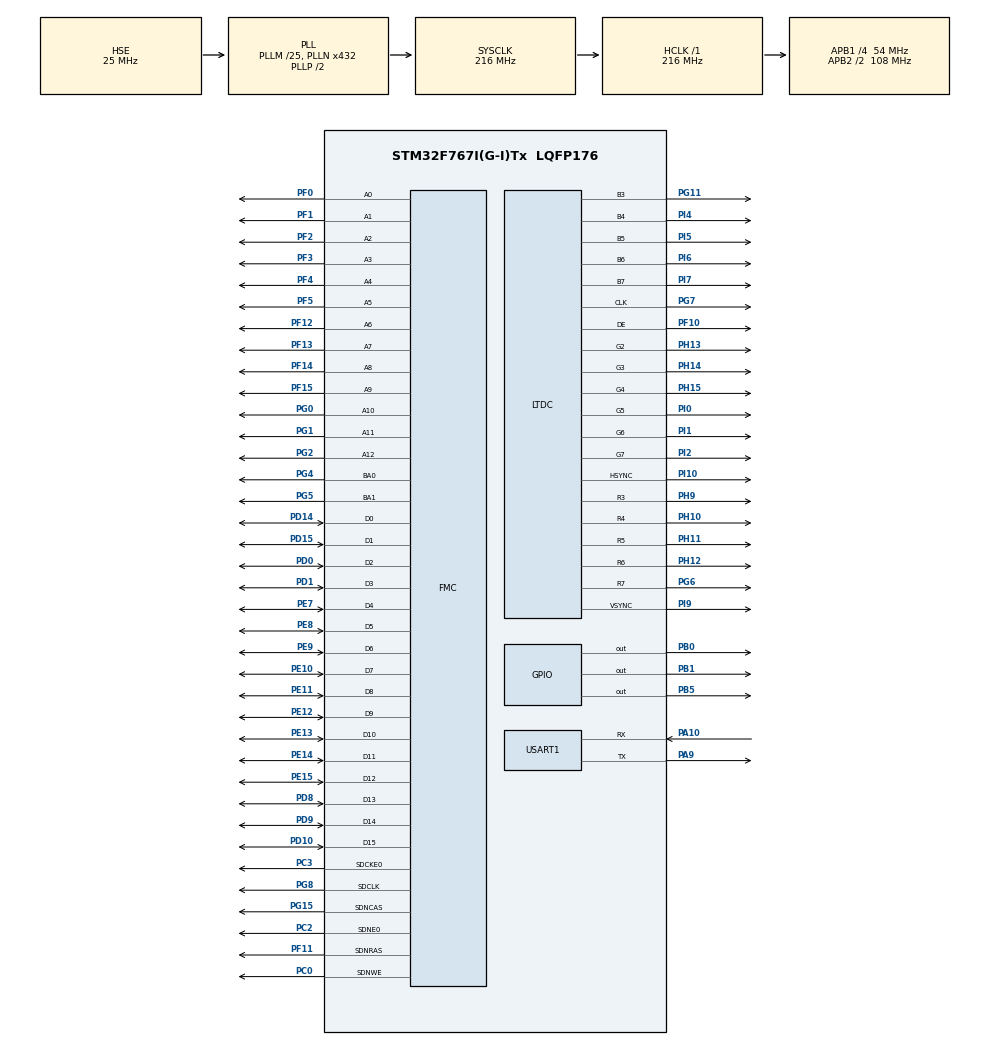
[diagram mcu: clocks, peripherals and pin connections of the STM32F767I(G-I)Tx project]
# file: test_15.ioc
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CORTEX_M7.MPU_Control=__NULL
CORTEX_M7.default_mode_Activation=1
DMA2D.ColorMode=DMA2D_OUTPUT_RGB565
FMC.CASLatency1=FMC_SDRAM_CAS_LATENCY_3
FMC.ColumnBitsNumber1=FMC_SDRAM_COLUMN_BITS_NUM_9
FMC.ExitSelfRefreshDelay1=8
FMC.LoadToActiveDelay1=2
FMC.RCDDelay1=2
FMC.RPDelay1=2
FMC.ReadBurst1=FMC_SDRAM_RBURST_ENABLE
FMC.ReadPipeDelay1=FMC_SDRAM_RPIPE_DELAY_1
FMC.RowCycleDelay1=6
FMC.SDClockPeriod1=FMC_SDRAM_CLOCK_PERIOD_2
FMC.SelfRefreshTime1=6
FMC.WriteRecoveryTime1=4
LTDC.ActiveW=800
LTDC.Alpha_L0=255
LTDC.FBStartAdress_L0=0xc0000000
LTDC.HBP=88
LTDC.HFP=40
LTDC.HSync=48
LTDC.ImageHeight_L0=480
LTDC.ImageWidth_L0=800
LTDC.PixelFormat_L0=LTDC_PIXEL_FORMAT_RGB565
LTDC.PixelFormat_L1=LTDC_PIXEL_FORMAT_RGB565
LTDC.VBP=32
LTDC.VFP=13
LTDC.VSync=3
LTDC.WindowX1_L0=800
LTDC.WindowY1_L0=480
Mcu.Family=STM32F7
Mcu.Name=STM32F767I(G-I)Tx
Mcu.Package=LQFP176
NVIC.PriorityGroup=NVIC_PRIORITYGROUP_2
NVIC.RTC_Alarm_IRQn=true\:1\:2\:true\:false\:true\:true\:true\:true
NVIC.RTC_WKUP_IRQn=true\:1\:2\:true\:false\:true\:true\:true\:true
NVIC.USART1_IRQn=true\:3\:3\:true\:false\:true\:true\:true\:true
PA10.GPIO_ModeDefaultPP=GPIO_MODE_AF_PP
PA10.GPIO_PuPd=GPIO_PULLUP
PA10.GPIO_Speed=GPIO_SPEED_FREQ_HIGH
PA10.Mode=Asynchronous
PA10.Signal=USART1_RX
PA9.GPIO_ModeDefaultPP=GPIO_MODE_AF_PP
PA9.GPIO_PuPd=GPIO_PULLUP
PA9.GPIO_Speed=GPIO_SPEED_FREQ_HIGH
PA9.Mode=Asynchronous
PA9.Signal=USART1_TX
PB0.GPIO_PuPd=GPIO_PULLUP
PB0.GPIO_Speed=GPIO_SPEED_FREQ_HIGH
PB0.PinState=GPIO_PIN_SET
PB0.Signal=GPIO_Output
PB1.GPIO_PuPd=GPIO_PULLUP
PB1.GPIO_Speed=GPIO_SPEED_FREQ_HIGH
PB1.PinState=GPIO_PIN_SET
PB1.Signal=GPIO_Output
PB5.GPIO_PuPd=GPIO_PULLUP
PB5.GPIO_Speed=GPIO_SPEED_FREQ_HIGH
PB5.Signal=GPIO_Output
PC0.GPIO_PuPd=GPIO_PULLUP
PC0.GPIO_Speed_High_Default=GPIO_SPEED_FREQ_HIGH
PC0.Signal=FMC_SDNWE
PC14/OSC32_IN.Mode=LSE-External-Oscillator
PC14/OSC32_IN.Signal=RCC_OSC32_IN
PC15/OSC32_OUT.Mode=LSE-External-Oscillator
PC15/OSC32_OUT.Signal=RCC_OSC32_OUT
PC2.GPIO_PuPd=GPIO_PULLUP
PC2.GPIO_Speed_High_Default=GPIO_SPEED_FREQ_HIGH
PC2.Mode=SdramChipSelect1_1
PC2.Signal=FMC_SDNE0
PC3.GPIO_PuPd=GPIO_PULLUP
PC3.GPIO_Speed_High_Default=GPIO_SPEED_FREQ_HIGH
PC3.Mode=SdramChipSelect1_1
PC3.Signal=FMC_SDCKE0
PD0.GPIO_PuPd=GPIO_PULLUP
PD0.GPIO_Speed_High_Default=GPIO_SPEED_FREQ_HIGH
PD0.Signal=FMC_D2_DA2
PD1.GPIO_PuPd=GPIO_PULLUP
PD1.GPIO_Speed_High_Default=GPIO_SPEED_FREQ_HIGH
PD1.Signal=FMC_D3_DA3
PD10.GPIO_PuPd=GPIO_PULLUP
PD10.GPIO_Speed_High_Default=GPIO_SPEED_FREQ_HIGH
PD10.Signal=FMC_D15_DA15
PD14.GPIO_PuPd=GPIO_PULLUP
PD14.GPIO_Speed_High_Default=GPIO_SPEED_FREQ_HIGH
PD14.Signal=FMC_D0_DA0
PD15.GPIO_PuPd=GPIO_PULLUP
PD15.GPIO_Speed_High_Default=GPIO_SPEED_FREQ_HIGH
PD15.Signal=FMC_D1_DA1
PD8.GPIO_PuPd=GPIO_PULLUP
PD8.GPIO_Speed_High_Default=GPIO_SPEED_FREQ_HIGH
PD8.Signal=FMC_D13_DA13
PD9.GPIO_PuPd=GPIO_PULLUP
PD9.GPIO_Speed_High_Default=GPIO_SPEED_FREQ_HIGH
PD9.Signal=FMC_D14_DA14
PE0.GPIO_Mode=GPIO_MODE_AF_PP
PE0.GPIO_PuPd=GPIO_PULLUP
PE0.GPIO_Speed_High_Default=GPIO_SPEED_FREQ_HIGH
PE0.Signal=FMC_NBL0
PE1.GPIO_Mode=GPIO_MODE_AF_PP
PE1.GPIO_PuPd=GPIO_PULLUP
PE1.GPIO_Speed_High_Default=GPIO_SPEED_FREQ_HIGH
PE1.Signal=FMC_NBL1
PE10.GPIO_PuPd=GPIO_PULLUP
PE10.GPIO_Speed_High_Default=GPIO_SPEED_FREQ_HIGH
PE10.Signal=FMC_D7_DA7
PE11.GPIO_PuPd=GPIO_PULLUP
PE11.GPIO_Speed_High_Default=GPIO_SPEED_FREQ_HIGH
PE11.Signal=FMC_D8_DA8
PE12.GPIO_PuPd=GPIO_PULLUP
PE12.GPIO_Speed_High_Default=GPIO_SPEED_FREQ_HIGH
PE12.Signal=FMC_D9_DA9
PE13.GPIO_PuPd=GPIO_PULLUP
PE13.GPIO_Speed_High_Default=GPIO_SPEED_FREQ_HIGH
PE13.Signal=FMC_D10_DA10
PE14.GPIO_PuPd=GPIO_PULLUP
PE14.GPIO_Speed_High_Default=GPIO_SPEED_FREQ_HIGH
PE14.Signal=FMC_D11_DA11
PE15.GPIO_PuPd=GPIO_PULLUP
PE15.GPIO_Speed_High_Default=GPIO_SPEED_FREQ_HIGH
PE15.Signal=FMC_D12_DA12
PE7.GPIO_PuPd=GPIO_PULLUP
PE7.GPIO_Speed_High_Default=GPIO_SPEED_FREQ_HIGH
PE7.Signal=FMC_D4_DA4
PE8.GPIO_PuPd=GPIO_PULLUP
PE8.GPIO_Speed_High_Default=GPIO_SPEED_FREQ_HIGH
PE8.Signal=FMC_D5_DA5
PE9.GPIO_PuPd=GPIO_PULLUP
PE9.GPIO_Speed_High_Default=GPIO_SPEED_FREQ_HIGH
PE9.Signal=FMC_D6_DA6
PF0.GPIO_PuPd=GPIO_PULLUP
PF0.GPIO_Speed_High_Default=GPIO_SPEED_FREQ_HIGH
PF0.Signal=FMC_A0
PF1.GPIO_PuPd=GPIO_PULLUP
PF1.GPIO_Speed_High_Default=GPIO_SPEED_FREQ_HIGH
PF1.Signal=FMC_A1
PF10.GPIO_Speed=GPIO_SPEED_FREQ_HIGH
PF10.Mode=RGB565
PF10.Signal=LTDC_DE
PF11.GPIO_PuPd=GPIO_PULLUP
PF11.GPIO_Speed_High_Default=GPIO_SPEED_FREQ_HIGH
PF11.Signal=FMC_SDNRAS
PF12.GPIO_PuPd=GPIO_PULLUP
PF12.GPIO_Speed_High_Default=GPIO_SPEED_FREQ_HIGH
PF12.Signal=FMC_A6
PF13.GPIO_PuPd=GPIO_PULLUP
PF13.GPIO_Speed_High_Default=GPIO_SPEED_FREQ_HIGH
PF13.Signal=FMC_A7
PF14.GPIO_PuPd=GPIO_PULLUP
PF14.GPIO_Speed_High_Default=GPIO_SPEED_FREQ_HIGH
PF14.Signal=FMC_A8
PF15.GPIO_PuPd=GPIO_PULLUP
PF15.GPIO_Speed_High_Default=GPIO_SPEED_FREQ_HIGH
PF15.Signal=FMC_A9
PF2.GPIO_PuPd=GPIO_PULLUP
PF2.GPIO_Speed_High_Default=GPIO_SPEED_FREQ_HIGH
PF2.Signal=FMC_A2
PF3.GPIO_PuPd=GPIO_PULLUP
PF3.GPIO_Speed_High_Default=GPIO_SPEED_FREQ_HIGH
PF3.Signal=FMC_A3
PF4.GPIO_PuPd=GPIO_PULLUP
PF4.GPIO_Speed_High_Default=GPIO_SPEED_FREQ_HIGH
PF4.Signal=FMC_A4
PF5.GPIO_PuPd=GPIO_PULLUP
PF5.GPIO_Speed_High_Default=GPIO_SPEED_FREQ_HIGH
PF5.Signal=FMC_A5
PG0.GPIO_PuPd=GPIO_PULLUP
PG0.GPIO_Speed_High_Default=GPIO_SPEED_FREQ_HIGH
PG0.Signal=FMC_A10
PG1.GPIO_PuPd=GPIO_PULLUP
PG1.GPIO_Speed_High_Default=GPIO_SPEED_FREQ_HIGH
PG1.Signal=FMC_A11
PG11.GPIO_Speed=GPIO_SPEED_FREQ_HIGH
PG11.Mode=RGB565
PG11.Signal=LTDC_B3
PG15.GPIO_PuPd=GPIO_PULLUP
PG15.GPIO_Speed_High_Default=GPIO_SPEED_FREQ_HIGH
PG15.Signal=FMC_SDNCAS
PG2.GPIO_PuPd=GPIO_PULLUP
PG2.GPIO_Speed_High_Default=GPIO_SPEED_FREQ_HIGH
PG2.Signal=FMC_A12
PG4.GPIO_PuPd=GPIO_PULLUP
PG4.GPIO_Speed_High_Default=GPIO_SPEED_FREQ_HIGH
PG4.Signal=FMC_A14_BA0
PG5.GPIO_PuPd=GPIO_PULLUP
PG5.GPIO_Speed_High_Default=GPIO_SPEED_FREQ_HIGH
PG5.Signal=FMC_A15_BA1
PG6.GPIO_Speed=GPIO_SPEED_FREQ_HIGH
PG6.Mode=RGB565
PG6.Signal=LTDC_R7
PG7.GPIO_Speed=GPIO_SPEED_FREQ_HIGH
PG7.Mode=RGB565
PG7.Signal=LTDC_CLK
PG8.GPIO_PuPd=GPIO_PULLUP
PG8.GPIO_Speed_High_Default=GPIO_SPEED_FREQ_HIGH
PG8.Signal=FMC_SDCLK
PH0/OSC_IN.Mode=HSE-External-Oscillator
PH0/OSC_IN.Signal=RCC_OSC_IN
PH1/OSC_OUT.Mode=HSE-External-Oscillator
PH1/OSC_OUT.Signal=RCC_OSC_OUT
PH10.GPIO_Speed=GPIO_SPEED_FREQ_HIGH
PH10.Mode=RGB565
PH10.Signal=LTDC_R4
PH11.GPIO_Speed=GPIO_SPEED_FREQ_HIGH
PH11.Mode=RGB565
PH11.Signal=LTDC_R5
PH12.GPIO_Speed=GPIO_SPEED_FREQ_HIGH
PH12.Mode=RGB565
PH12.Signal=LTDC_R6
PH13.GPIO_Speed=GPIO_SPEED_FREQ_HIGH
PH13.Mode=RGB565
PH13.Signal=LTDC_G2
PH14.GPIO_Speed=GPIO_SPEED_FREQ_HIGH
PH14.Mode=RGB565
PH14.Signal=LTDC_G3
PH15.GPIO_Speed=GPIO_SPEED_FREQ_HIGH
PH15.Mode=RGB565
PH15.Signal=LTDC_G4
PH9.GPIO_Speed=GPIO_SPEED_FREQ_HIGH
PH9.Mode=RGB565
PH9.Signal=LTDC_R3
PI0.GPIO_Speed=GPIO_SPEED_FREQ_HIGH
PI0.Mode=RGB565
PI0.Signal=LTDC_G5
PI1.GPIO_Speed=GPIO_SPEED_FREQ_HIGH
PI1.Mode=RGB565
PI1.Signal=LTDC_G6
PI10.GPIO_Speed=GPIO_SPEED_FREQ_HIGH
PI10.Mode=RGB565
PI10.Signal=LTDC_HSYNC
PI2.GPIO_Speed=GPIO_SPEED_FREQ_HIGH
PI2.Mode=RGB565
PI2.Signal=LTDC_G7
PI4.GPIO_Speed=GPIO_SPEED_FREQ_HIGH
PI4.Mode=RGB565
PI4.Signal=LTDC_B4
PI5.GPIO_Speed=GPIO_SPEED_FREQ_HIGH
PI5.Mode=RGB565
PI5.Signal=LTDC_B5
PI6.GPIO_Speed=GPIO_SPEED_FREQ_HIGH
PI6.Mode=RGB565
PI6.Signal=LTDC_B6
PI7.GPIO_Speed=GPIO_SPEED_FREQ_HIGH
PI7.Mode=RGB565
PI7.Signal=LTDC_B7
PI9.GPIO_Speed=GPIO_SPEED_FREQ_HIGH
PI9.Mode=RGB565
PI9.Signal=LTDC_VSYNC
ProjectManager.HeapSize=0x200
ProjectManager.StackSize=0x400
ProjectManager.TargetToolchain=MDK-ARM V5.32
RCC.AHBFreq_Value=216000000
RCC.APB1CLKDivider=RCC_HCLK_DIV4
RCC.APB1Freq_Value=54000000
RCC.APB1TimFreq_Value=108000000
RCC.APB2CLKDivider=RCC_HCLK_DIV2
RCC.APB2Freq_Value=108000000
RCC.APB2TimFreq_Value=216000000
RCC.CortexFreq_Value=216000000
RCC.HCLKFreq_Value=216000000
RCC.HSE_VALUE=25000000
RCC.HSI_VALUE=16000000
RCC.PLLM=25
RCC.PLLN=432
RCC.PLLSAIN=360
RCC.PLLSAIR=3
RCC.PLLSAIRDiv=RCC_PLLSAIDIVR_4
RCC.PLLSourceVirtual=RCC_PLLSOURCE_HSE
RCC.RTCClockSelection=RCC_RTCCLKSOURCE_LSE
RCC.SYSCLKFreq_VALUE=216000000
RCC.SYSCLKSource=RCC_SYSCLKSOURCE_PLLCLK
RCC.USBFreq_Value=216000000
RCC.VCOOutputFreq_Value=432000000
RTC.Alarm-Alarm\ A=RTC_ALARM_A
RTC.AlarmDateWeekDaySel-Alarm\ A=RTC_ALARMDATEWEEKDAYSEL_WEEKDAY
RTC.AsynchPrediv=0x7f
RTC.Date=27
RTC.Hours=23
RTC.Minutes=59
RTC.Month=RTC_MONTH_DECEMBER
RTC.Seconds=56
RTC.Seconds_A-Alarm\ A=30
RTC.SynchPrediv=0xff
RTC.WeekDay=RTC_WEEKDAY_SUNDAY
RTC.Year=15
SH.FMC_A0.0=FMC_A0,13b-sda1
SH.FMC_A1.0=FMC_A1,13b-sda1
SH.FMC_A10.0=FMC_A10,13b-sda1
SH.FMC_A11.0=FMC_A11,13b-sda1
SH.FMC_A12.0=FMC_A12,13b-sda1
SH.FMC_A14_BA0.0=FMC_BA0,FourSdramBanks1
SH.FMC_A15_BA1.0=FMC_BA1,FourSdramBanks1
SH.FMC_A2.0=FMC_A2,13b-sda1
SH.FMC_A3.0=FMC_A3,13b-sda1
SH.FMC_A4.0=FMC_A4,13b-sda1
SH.FMC_A5.0=FMC_A5,13b-sda1
SH.FMC_A6.0=FMC_A6,13b-sda1
SH.FMC_A7.0=FMC_A7,13b-sda1
SH.FMC_A8.0=FMC_A8,13b-sda1
SH.FMC_A9.0=FMC_A9,13b-sda1
SH.FMC_D0_DA0.0=FMC_D0,sd-16b-d1
SH.FMC_D10_DA10.0=FMC_D10,sd-16b-d1
SH.FMC_D11_DA11.0=FMC_D11,sd-16b-d1
SH.FMC_D12_DA12.0=FMC_D12,sd-16b-d1
SH.FMC_D13_DA13.0=FMC_D13,sd-16b-d1
SH.FMC_D14_DA14.0=FMC_D14,sd-16b-d1
SH.FMC_D15_DA15.0=FMC_D15,sd-16b-d1
SH.FMC_D1_DA1.0=FMC_D1,sd-16b-d1
SH.FMC_D2_DA2.0=FMC_D2,sd-16b-d1
SH.FMC_D3_DA3.0=FMC_D3,sd-16b-d1
SH.FMC_D4_DA4.0=FMC_D4,sd-16b-d1
SH.FMC_D5_DA5.0=FMC_D5,sd-16b-d1
SH.FMC_D6_DA6.0=FMC_D6,sd-16b-d1
SH.FMC_D7_DA7.0=FMC_D7,sd-16b-d1
SH.FMC_D8_DA8.0=FMC_D8,sd-16b-d1
SH.FMC_D9_DA9.0=FMC_D9,sd-16b-d1
SH.FMC_NBL0.0=FMC_NBL0
SH.FMC_NBL1.0=FMC_NBL1
SH.FMC_SDCLK.0=FMC_SDCLK,13b-sda1
SH.FMC_SDNCAS.0=FMC_SDNCAS,13b-sda1
SH.FMC_SDNRAS.0=FMC_SDNRAS,13b-sda1
SH.FMC_SDNWE.0=FMC_SDNWE,13b-sda1
USART1.VirtualMode-Asynchronous=VM_ASYNC
VP_DMA2D_VS_DMA2D.Mode=DMA2D_Activate
VP_RTC_VS_RTC_Activate.Mode=RTC_Enabled
VP_RTC_VS_RTC_Alarm_A_Intern.Mode=Alarm A
VP_RTC_VS_RTC_Calendar.Mode=RTC_Calendar
VP_RTC_VS_RTC_WakeUp_intern.Mode=WakeUp
board=custom

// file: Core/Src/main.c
/* USER CODE BEGIN Header */
/**
  ******************************************************************************
  * @file           : main.c
  * @brief          : Main program body
  ******************************************************************************
  * @attention
  *
  * Copyright (c) 2022 STMicroelectronics.
  * All rights reserved.
  *
  * This software is licensed under terms that can be found in the LICENSE file
  * in the root directory of this software component.
  * If no LICENSE file comes with this software, it is provided AS-IS.
  *
  ******************************************************************************
  */
/* USER CODE END Header */
#include "main.h"
#include "dma2d.h"
#include "ltdc.h"
#include "rtc.h"
#include "usart.h"
#include "gpio.h"
#include "fmc.h"

/* USER CODE BEGIN Includes */
#include "lcd.h"
#include "stdio.h"
/* USER CODE END Includes */

void SystemClock_Config(void);

/* USER CODE BEGIN 0 */
//////////////////////////////////////////////////////////////////////////////////
//加入以下代码,支持printf函数,而不需要选择use MicroLIB
//#define PUTCHAR_PROTOTYPE int fputc(int ch, FILE *f)
#if 1
#pragma import(__use_no_semihosting)
//标准库需要的支持函数
struct __FILE
{
	int handle;
};

FILE __stdout;
//定义_sys_exit()以避免使用半主机模式
void _sys_exit(int x)
{
	x = x;
}
//重定义fputc函数
int fputc(int ch, FILE *f)
{
	while((USART1->ISR&0X40)==0);//循环发送,直到发送完毕
	USART1->TDR=(uint8_t)ch;
	return ch;
}
#endif
/* USER CODE END 0 */

int main(void)
{
  /* USER CODE BEGIN 1 */
  RTC_TimeTypeDef RTC_TimeStruct;
  RTC_DateTypeDef RTC_DateStruct;

  uint8_t tbuf[40];
  uint8_t t=0;
  /* USER CODE END 1 */

  /* MCU Configuration--------------------------------------------------------*/

  /* Reset of all peripherals, Initializes the Flash interface and the Systick. */
  HAL_Init();

  /* Configure the system clock */
  SystemClock_Config();

  /* Initialize all configured peripherals */
  MX_GPIO_Init();
  MX_DMA2D_Init();
  MX_FMC_Init();
  MX_LTDC_Init();
  MX_RTC_Init();
  MX_USART1_UART_Init();
  /* USER CODE BEGIN 2 */
  	MX_FMC_Init();
	SDRAM_Initialization_Sequence(&hsdram1);//发送SDRAM初始化序列
	MX_LTDC_Init();
	MX_RTC_Init();
	RTC_Set_WakeUp(RTC_WAKEUPCLOCK_CK_SPRE_16BITS,0); //配置WAKE UP中断,1秒钟中断一次
    MX_USART1_UART_Init();
	LCD_Init();
	POINT_COLOR=RED;
	LCD_ShowString(30,50,200,16,16,(uint8_t *)"Apollo STM32F4/F7");
	LCD_ShowString(30,70,200,16,16,(uint8_t *)"RTC TEST");
	LCD_ShowString(30,90,200,16,16,(uint8_t *)"ATOM@ALIENTEK");
	LCD_ShowString(30,110,200,16,16,(uint8_t *)"2022/8/2");
  /* USER CODE END 2 */

  /* Infinite loop */
  /* USER CODE BEGIN WHILE */
  while (1)
  {
	  t++;
	  if((t%10)==0)	//每100ms更新一次显示数据
		{
            HAL_RTC_GetTime(&hrtc,&RTC_TimeStruct,RTC_FORMAT_BIN);
			sprintf((char*)tbuf,"Time:%02d:%02d:%02d",RTC_TimeStruct.Hours,RTC_TimeStruct.Minutes,RTC_TimeStruct.Seconds);
			LCD_ShowString(30,140,210,16,16,tbuf);
            HAL_RTC_GetDate(&hrtc,&RTC_DateStruct,RTC_FORMAT_BIN);
			sprintf((char*)tbuf,"Date:20%02d-%02d-%02d",RTC_DateStruct.Year,RTC_DateStruct.Month,RTC_DateStruct.Date);
			LCD_ShowString(30,160,210,16,16,tbuf);
			sprintf((char*)tbuf,"Week:%d",RTC_DateStruct.WeekDay);
			LCD_ShowString(30,180,210,16,16,tbuf);
		}
	  if((t%20)==0) HAL_GPIO_TogglePin(LED0_GPIO_Port,LED0_Pin);
	  HAL_Delay(10);
    /* USER CODE END WHILE */

  }
}

void SystemClock_Config(void)
{
  RCC_OscInitTypeDef RCC_OscInitStruct = {0};
  RCC_ClkInitTypeDef RCC_ClkInitStruct = {0};

  /** Configure LSE Drive Capability
  */
  HAL_PWR_EnableBkUpAccess();
  __HAL_RCC_LSEDRIVE_CONFIG(RCC_LSEDRIVE_LOW);

  /** Configure the main internal regulator output voltage
  */
  __HAL_RCC_PWR_CLK_ENABLE();
  __HAL_PWR_VOLTAGESCALING_CONFIG(PWR_REGULATOR_VOLTAGE_SCALE1);

  /** Initializes the RCC Oscillators according to the specified parameters
  * in the RCC_OscInitTypeDef structure.
  */
  RCC_OscInitStruct.OscillatorType = RCC_OSCILLATORTYPE_HSE|RCC_OSCILLATORTYPE_LSE;
  RCC_OscInitStruct.HSEState = RCC_HSE_ON;
  RCC_OscInitStruct.LSEState = RCC_LSE_ON;
  RCC_OscInitStruct.PLL.PLLState = RCC_PLL_ON;
  RCC_OscInitStruct.PLL.PLLSource = RCC_PLLSOURCE_HSE;
  RCC_OscInitStruct.PLL.PLLM = 25;
  RCC_OscInitStruct.PLL.PLLN = 432;
  RCC_OscInitStruct.PLL.PLLP = RCC_PLLP_DIV2;
  RCC_OscInitStruct.PLL.PLLQ = 2;
  RCC_OscInitStruct.PLL.PLLR = 2;
  if (HAL_RCC_OscConfig(&RCC_OscInitStruct) != HAL_OK)
  {
    Error_Handler();
  }

  /** Activate the Over-Drive mode
  */
  if (HAL_PWREx_EnableOverDrive() != HAL_OK)
  {
    Error_Handler();
  }

  /** Initializes the CPU, AHB and APB buses clocks
  */
  RCC_ClkInitStruct.ClockType = RCC_CLOCKTYPE_HCLK|RCC_CLOCKTYPE_SYSCLK
                              |RCC_CLOCKTYPE_PCLK1|RCC_CLOCKTYPE_PCLK2;
  RCC_ClkInitStruct.SYSCLKSource = RCC_SYSCLKSOURCE_PLLCLK;
  RCC_ClkInitStruct.AHBCLKDivider = RCC_SYSCLK_DIV1;
  RCC_ClkInitStruct.APB1CLKDivider = RCC_HCLK_DIV4;
  RCC_ClkInitStruct.APB2CLKDivider = RCC_HCLK_DIV2;

  if (HAL_RCC_ClockConfig(&RCC_ClkInitStruct, FLASH_LATENCY_7) != HAL_OK)
  {
    Error_Handler();
  }
}

void Error_Handler(void)
{
  __disable_irq();
  while (1)
  {
  }
}
